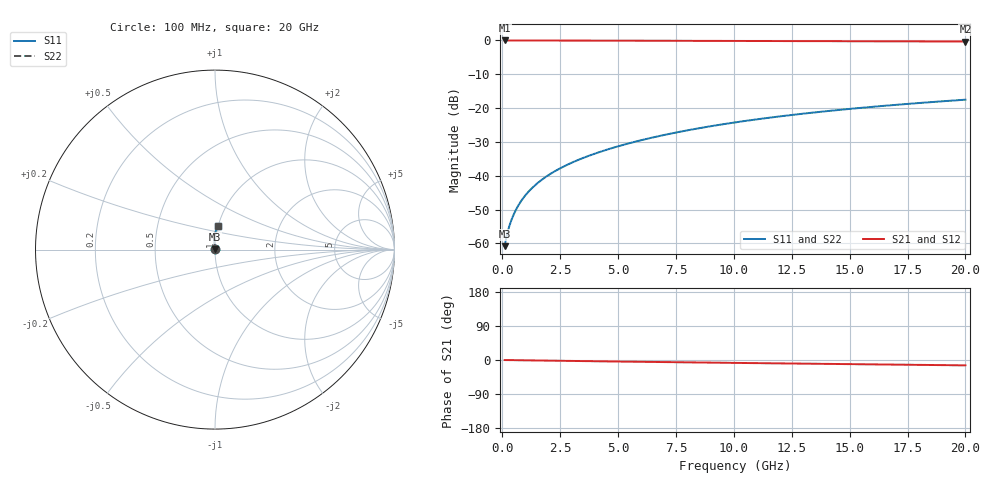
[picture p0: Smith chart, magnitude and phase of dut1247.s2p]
! Touchstone file exported from HFSS 2024.1.0
!  File:  C:/UserFiles/LocalFiles/RDL_TSV_Batchsim/temp_RDL_bottom_1247_1780245224.aedt
!  Generated:  12:36:07 AM Jun  1, 2026
!  Design:  RDL_bottom
!  Project:  temp_RDL_bottom_1247_1780245224
!  Setup:  Setup1
!  Solution:  Sweep
! Variables:
!  dtsv = 10.80580581um
!  hbump = 3um
!  htsv = 89.98um
!  ldown = 191.24um
!  lrdl = 100um
!  p = 40
!  p1 = 49.77um
!  rhole = 1um
!  t = 450um
!  tdown = 4.78um
!  trdl = 3.915915916um
!  wdown = 27.46um
!  wrdl = 20um
# GHz S MA R 50.000000
! Terminal data exported
! Port[1] = RDL1_T1
! Port[2] = RDL1_T2
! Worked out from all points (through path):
!   200 points, 100 MHz to 20 GHz, reference 50 ohm
!   highest |S21| = -0.01 dB at 100 MHz (marker M1); lowest = -0.3 dB at 20 GHz (marker M2)
!   group delay of S21, straight-line fit = 1.93 ps
!   lowest |S11| = -60.8 dB at 100 MHz (marker M3), VSWR 1.00, Z = 50.1 + j0.0581 ohm
!   |S11| at or under -10 dB: start of sweep to end of sweep
!   |S22| runs from -60.8 to -17.5 dB; largest |S21 - S12| = 3.1e-15
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0.1  0.0009111 39.6  0.9993 -0.1  0.9993 -0.1  0.0009111 39.6
! Gamma 0 0 0 0
! Port Impedance 50 0 50 0
0.2  0.00134 55.7  0.9992 -0.2  0.9992 -0.2  0.00134 55.7
0.3  0.001789 63.9  0.9992 -0.3  0.9992 -0.3  0.001789 63.9
0.4  0.002248 69.2  0.9991 -0.3  0.9991 -0.3  0.002248 69.2
0.5  0.002717 72.9  0.999 -0.4  0.999 -0.4  0.002717 72.9
0.6  0.003195 75.6  0.999 -0.5  0.999 -0.5  0.003195 75.6
0.8  0.004168 79.4  0.9989 -0.7  0.9989 -0.7  0.004168 79.4
1.1  0.005657 82.9  0.9987 -0.9  0.9987 -0.9  0.005657 82.9
1.5  0.007679 85.7  0.9983 -1.3  0.9983 -1.3  0.007679 85.7
1.8  0.009219 87.2  0.998 -1.5  0.998 -1.5  0.009219 87.2
2.1  0.01078 88.4  0.9976 -1.8  0.9976 -1.8  0.01078 88.4
2.7  0.01397 90.2  0.9967 -2.3  0.9967 -2.3  0.01397 90.2
3.5  0.01839 91.8  0.9954 -2.9  0.9954 -2.9  0.01839 91.8
4.2  0.02243 92.8  0.994 -3.5  0.994 -3.5  0.02243 92.8
5  0.02725 93.6  0.9923 -4.1  0.9923 -4.1  0.02725 93.6
6.8  0.03881 94.1  0.9883 -5.4  0.9883 -5.4  0.03881 94.1
8.4  0.04975 93.7  0.9848 -6.5  0.9848 -6.5  0.04975 93.7
10.1  0.0618 92.7  0.9813 -7.7  0.9813 -7.7  0.0618 92.7
11.7  0.07335 91.4  0.9782 -8.8  0.9782 -8.8  0.07335 91.4
13.4  0.08571 89.9  0.9751 -9.9  0.9751 -9.9  0.0857 89.9
16.7  0.1096 86.9  0.9695 -12.0  0.9695 -12.0  0.1096 86.9
20  0.1332 83.9  0.9642 -14.2  0.9642 -14.2  0.1332 83.9
